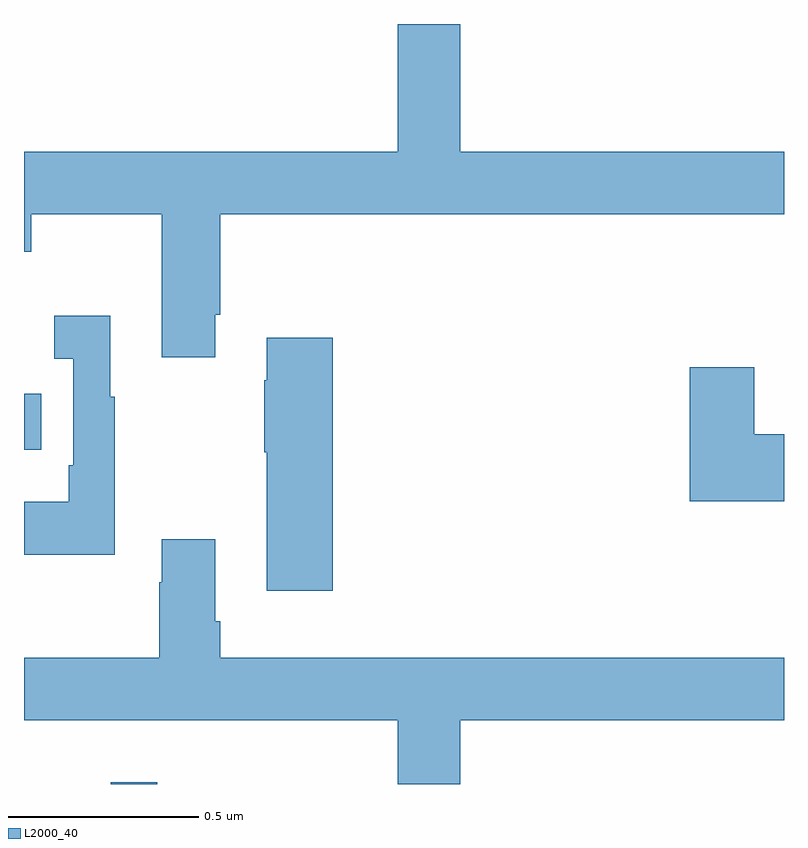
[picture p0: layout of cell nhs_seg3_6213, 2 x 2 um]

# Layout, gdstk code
import gdstk
lib = gdstk.Library(unit=1e-6, precision=1e-09)
def R(c, l, rs):  # rectangles x0, y0, x1, y1
    for r in rs: c.add(gdstk.rectangle(r[:2], r[2:], *l))
def P(c, l, *ps):  # polygons
    for p in ps: c.add(gdstk.Polygon(p, *l))
L2000_40 = (2000, 40)

nhs_seg3_6213 = lib.new_cell('nhs_seg3_6213')
R(nhs_seg3_6213, L2000_40, [(188.228,715.4,188.35,715.405), (188,716.279,188.045,716.427)])
P(nhs_seg3_6213, L2000_40, [(188.503,716.635),(188.516,716.635),(188.516,716.9),(190,716.9),(190,717.064),(189.148,717.064),(189.148,717.4),(188.984,717.4),(188.984,717.064),(188,717.064),(188,716.801),(188.019,716.801),(188.019,716.9),(188.363,716.9),(188.363,716.523),(188.503,716.523)],
  [(188.239,716.419),(188.227,716.419),(188.227,716.632),(188.079,716.632),(188.079,716.519),(188.13,716.519),(188.13,716.239),(188.118,716.239),(188.118,716.143),(188,716.143),(188,716.003),(188.239,716.003)],
  [(188.812,716.575),(188.639,716.575),(188.639,716.462),(188.632,716.462),(188.632,716.273),(188.639,716.273),(188.639,715.908),(188.812,715.908)],
  [(190,716.32),(189.922,716.32),(189.922,716.497),(189.752,716.497),(189.752,716.144),(190,716.144)],
  [(189.148,715.568),(190,715.568),(190,715.732),(188.516,715.732),(188.516,715.828),(188.503,715.828),(188.503,716.044),(188.363,716.044),(188.363,715.931),(188.356,715.931),(188.356,715.732),(188,715.732),(188,715.568),(188.984,715.568),(188.984,715.4),(189.148,715.4)])

lib.write_gds('nhs_seg3_6213.gds')
